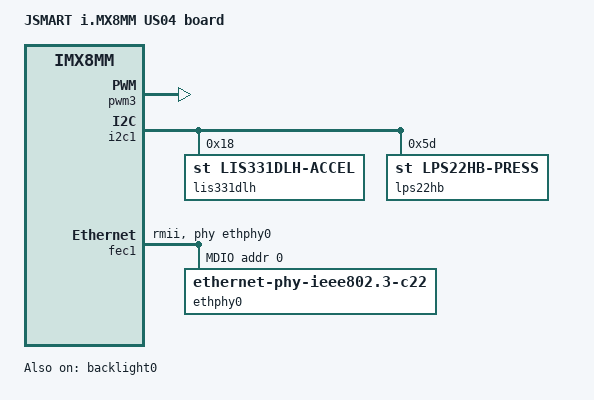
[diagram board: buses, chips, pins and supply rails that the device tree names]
/*
 * Copyright (C) 2019 Exor S.p.a
 * 
 * Written by: G. Pavoni Exor S.p.a.
 * 
 * Copyright (C) 2013 Freescale Semiconductor, Inc.
 *
 * This program is free software; you can redistribute it and/or modify
 * it under the terms of the GNU General Public License version 2 as
 * published by the Free Software Foundation.
 */
  
/dts-v1/;
  
#include "imx8mm_us04.dtsi"
  
/ {
	model = "JSMART i.MX8MM US04 board";
	compatible = "fsl,imx8mm-evk", "fsl,imx8mm";
};

&backlight0 {
    compatible = "pwm-backlight";
    pwms = <&pwm3 0 50000 0>;
    brightness-levels = <0 4 8 12 16 20 24 28 32 36 40 44 48 52 56 60 64 68 72 76 80 84 88 92 96 100>;
    default-brightness-level = <25>;
    enable-gpios = <&gpio5 5 0>;
    status = "okay";
};

&pwm3 {
	pinctrl-names = "default";
	pinctrl-0 = <&pinctrl_pwm3>;
	status = "okay";
};

&i2c1 {
	lis331dlh@18 {
		/* Accelerometer */
		compatible = "st,lis331dlh-accel";
		reg = <0x18>;
	};
	lps22hb@5d {
		/* Pressure */
		compatible = "st,lps22hb-press";
		reg = <0x5d>;
	};
};

&fec1 {
	pinctrl-names = "default";
	pinctrl-0 = <&pinctrl_fec1>;
	phy-mode = "rmii";
	phy-handle = <&ethphy0>;
	fsl,magic-packet;
	status = "okay";

	mdio {
		#address-cells = <1>;
		#size-cells = <0>;

		ethphy0: ethernet-phy@0 {
			compatible = "ethernet-phy-ieee802.3-c22";
			max-speed = <100>;
			reg = <0>;
		};
	};
};

&iomuxc {
	imx8mm-evk {
		pinctrl_pwm3: pwm3grp {
			fsl,pins = <
                MX8MM_IOMUXC_SPDIF_TX_PWM3_OUT            0x1c4
                MX8MM_IOMUXC_SPDIF_EXT_CLK_GPIO5_IO5      0x1c4
			>;
		};
		
		pinctrl_fec1: fec1grp {
			fsl,pins = <
				MX8MM_IOMUXC_ENET_MDC_ENET1_MDC		0x3
				MX8MM_IOMUXC_ENET_MDIO_ENET1_MDIO	0x3
				MX8MM_IOMUXC_ENET_TD2_ENET1_TX_CLK	0x4000001f
				MX8MM_IOMUXC_ENET_TD1_ENET1_RGMII_TD1	0x56
				MX8MM_IOMUXC_ENET_TD0_ENET1_RGMII_TD0	0x56
				MX8MM_IOMUXC_ENET_RD1_ENET1_RGMII_RD1	0x56
				MX8MM_IOMUXC_ENET_RD0_ENET1_RGMII_RD0	0x56
				MX8MM_IOMUXC_ENET_RXC_ENET1_RX_ER	0x56
				MX8MM_IOMUXC_ENET_RX_CTL_ENET1_RGMII_RX_CTL	0x56
				MX8MM_IOMUXC_ENET_TX_CTL_ENET1_RGMII_TX_CTL	0x56
			>;
		};
	};
};

